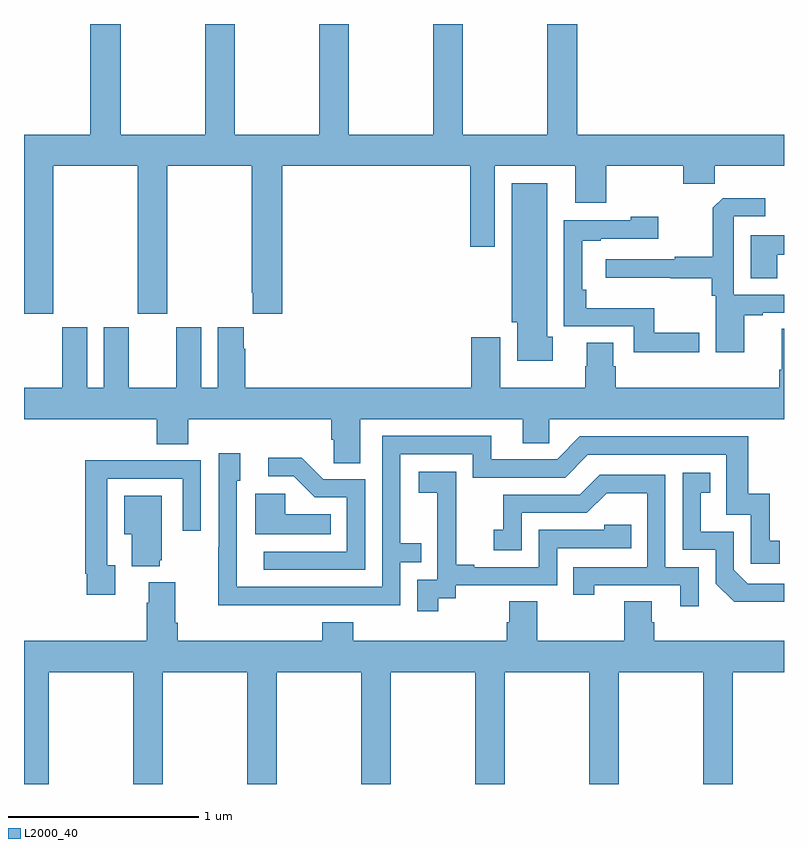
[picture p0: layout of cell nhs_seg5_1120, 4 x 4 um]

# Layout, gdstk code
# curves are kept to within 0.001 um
import gdstk
lib = gdstk.Library(unit=1e-6, precision=1e-09)
def P(c, l, *ps):  # polygons
    for p in ps: c.add(gdstk.Polygon(p, *l))
L2000_40 = (2000, 40)

nhs_seg5_1120 = lib.new_cell('nhs_seg5_1120')
P(nhs_seg5_1120, L2000_40, [(179.154,898.052),(179.599,898.052),(179.599,897.273),(179.754,897.273),(179.754,898.052),(180.199,898.052),(180.199,897.385),(180.203,897.385),(180.203,897.273),(180.359,897.273),(180.359,898.052),(181.349,898.052),(181.349,897.627),(181.477,897.627),(181.477,898.052),(181.901,898.052),(181.901,897.858),(182.065,897.858),(182.065,898.052),(182.471,898.052),(182.471,897.959),(182.635,897.959),(182.635,898.052),(183,898.052),(183,898.216),(181.913,898.216),(181.913,898.799),(181.753,898.799),(181.753,898.216),(181.308,898.216),(181.308,898.799),(181.153,898.799),(181.153,898.216),(180.708,898.216),(180.708,898.799),(180.553,898.799),(180.553,898.216),(180.108,898.216),(180.108,898.799),(179.953,898.799),(179.953,898.216),(179.508,898.216),(179.508,898.799),(179.348,898.799),(179.348,898.216),(179,898.216),(179,897.273),(179.154,897.273)],
  [(181.783,897.152),(181.753,897.152),(181.753,897.961),(181.568,897.961),(181.568,897.228),(181.595,897.228),(181.595,897.026),(181.783,897.026)],
  [(182.791,897.267),(182.887,897.267),(182.887,897.279),(183,897.279),(183,897.375),(182.736,897.375),(182.736,897.786),(182.902,897.786),(182.902,897.883),(182.677,897.883),(182.625,897.831),(182.625,897.574),(182.425,897.574),(182.425,897.561),(182.061,897.561),(182.061,897.464),(182.401,897.464),(182.401,897.46),(182.62,897.46),(182.62,897.368),(182.64,897.368),(182.64,897.072),(182.791,897.072)],
  [(182.554,897.173),(182.317,897.173),(182.317,897.304),(181.958,897.304),(181.958,897.4),(181.938,897.4),(181.938,897.657),(182.035,897.657),(182.035,897.669),(182.338,897.669),(182.338,897.784),(182.193,897.784),(182.193,897.765),(181.842,897.765),(181.842,897.207),(182.208,897.207),(182.208,897.071),(182.554,897.071)],
  [(182.965,897.585),(183,897.585),(183,897.686),(182.825,897.686),(182.825,897.46),(182.965,897.46)],
  [(180.769,896.72),(181.625,896.72),(181.625,896.593),(181.764,896.593),(181.764,896.72),(183,896.72),(183,897.194),(182.987,897.194),(182.987,896.98),(182.975,896.98),(182.975,896.884),(182.114,896.884),(182.114,896.997),(182.101,896.997),(182.101,897.122),(181.961,897.122),(181.961,896.997),(181.954,896.997),(181.954,896.884),(181.507,896.884),(181.507,897.151),(181.355,897.151),(181.355,896.884),(180.164,896.884),(180.164,897.089),(180.157,897.089),(180.157,897.202),(180.02,897.202),(180.02,896.884),(179.932,896.884),(179.932,897.202),(179.801,897.202),(179.801,896.884),(179.551,896.884),(179.551,897.202),(179.42,897.202),(179.42,896.884),(179.332,896.884),(179.332,897.202),(179.201,897.202),(179.201,896.884),(179,896.884),(179,896.72),(179.699,896.72),(179.699,896.587),(179.864,896.587),(179.864,896.72),(180.617,896.72),(180.617,896.611),(180.63,896.611),(180.63,896.488),(180.769,896.488)],
  [(180.485,895.74),(180.981,895.74),(180.981,895.965),(181.091,895.965),(181.091,896.066),(180.981,896.066),(180.981,896.535),(181.362,896.535),(181.362,896.412),(181.848,896.412),(181.968,896.532),(182.697,896.532),(182.697,896.217),(182.826,896.217),(182.826,895.959),(182.977,895.959),(182.977,896.079),(182.924,896.079),(182.924,896.326),(182.813,896.326),(182.813,896.628),(181.926,896.628),(181.806,896.508),(181.459,896.508),(181.459,896.631),(180.885,896.631),(180.885,895.836),(180.121,895.836),(180.12,896.394),(180.139,896.394),(180.139,896.539),(180.024,896.539),(180.024,896.045),(180.022,896.045),(180.022,895.739)],
  [(180.795,896.403),(180.576,896.403),(180.463,896.516),(180.285,896.516),(180.285,896.418),(180.419,896.418),(180.53,896.307),(180.699,896.307),(180.699,896.022),(180.261,896.022),(180.261,895.926),(180.795,895.926)],
  [(179.479,895.95),(179.439,895.95),(179.439,896.406),(179.835,896.406),(179.835,896.133),(179.931,896.133),(179.931,896.502),(179.615,896.502),(179.615,896.504),(179.323,896.504),(179.323,895.906),(179.331,895.906),(179.331,895.794),(179.479,895.794)],
  [(181.18,895.777),(181.272,895.777),(181.272,895.845),(181.806,895.845),(181.806,896.04),(182.195,896.04),(182.195,896.163),(182.055,896.163),(182.055,896.136),(181.71,896.136),(181.71,895.941),(181.369,895.941),(181.369,895.954),(181.274,895.954),(181.274,896.237),(181.275,896.237),(181.275,896.443),(181.077,896.443),(181.077,896.333),(181.175,896.333),(181.175,896.105),(181.176,896.105),(181.176,895.875),(181.071,895.875),(181.071,895.707),(181.18,895.707)],
  [(183,895.854),(182.808,895.854),(182.736,895.926),(182.736,896.127),(182.563,896.127),(182.563,896.331),(182.612,896.331),(182.612,896.437),(182.466,896.437),(182.466,896.031),(182.64,896.031),(182.64,895.854),(182.738,895.757),(183,895.757)],
  [(182.55,895.941),(182.376,895.941),(182.376,896.427),(182.03,896.427),(181.925,896.322),(181.522,896.322),(181.522,896.137),(181.473,896.137),(181.473,896.028),(181.62,896.028),(181.62,896.226),(181.962,896.226),(182.066,896.33),(182.28,896.33),(182.28,895.941),(181.891,895.941),(181.891,895.794),(182.002,895.794),(182.002,895.845),(182.453,895.845),(182.453,895.734),(182.55,895.734)],
  [(180.614,896.218),(180.375,896.218),(180.375,896.326),(180.218,896.326),(180.218,896.114),(180.614,896.114)],
  [(179.714,895.977),(179.725,895.977),(179.725,896.317),(179.528,896.317),(179.528,896.114),(179.567,896.114),(179.567,895.946),(179.714,895.946)],
  [(179.13,895.388),(179.575,895.388),(179.575,894.799),(179.73,894.799),(179.73,895.388),(180.175,895.388),(180.175,894.799),(180.33,894.799),(180.33,895.388),(180.775,895.388),(180.775,894.799),(180.93,894.799),(180.93,895.388),(181.375,895.388),(181.375,894.799),(181.53,894.799),(181.53,895.388),(181.975,895.388),(181.975,894.799),(182.13,894.799),(182.13,895.388),(182.575,895.388),(182.575,894.799),(182.73,894.799),(182.73,895.388),(183,895.388),(183,895.552),(182.318,895.552),(182.318,895.65),(182.305,895.65),(182.305,895.76),(182.158,895.76),(182.158,895.552),(181.701,895.552),(181.701,895.76),(181.553,895.76),(181.553,895.65),(181.541,895.65),(181.541,895.552),(180.734,895.552),(180.734,895.651),(180.569,895.651),(180.569,895.552),(179.81,895.552),(179.81,895.648),(179.797,895.648),(179.797,895.861),(179.657,895.861),(179.657,895.754),(179.645,895.754),(179.645,895.552),(179,895.552),(179,894.799),(179.13,894.799)])

lib.write_gds('nhs_seg5_1120.gds')
